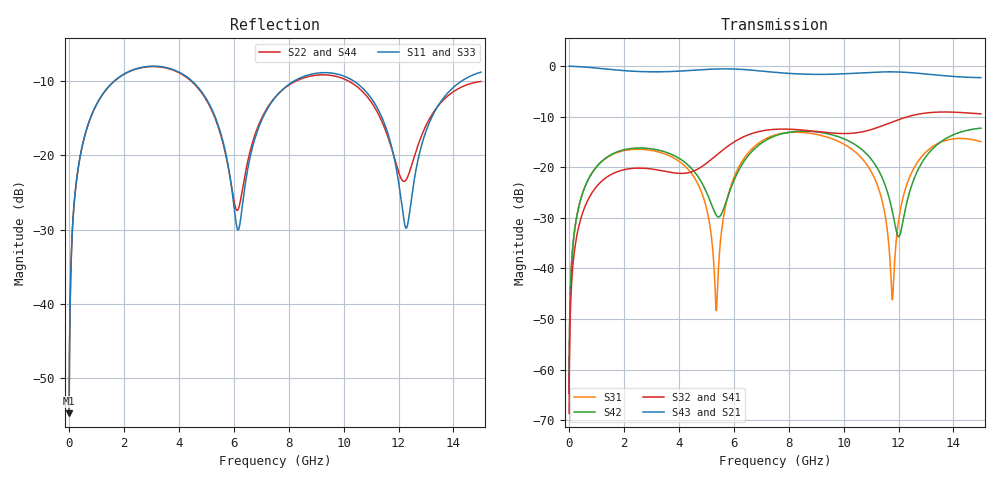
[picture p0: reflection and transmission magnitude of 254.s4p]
! Created with skrf 1.8.0 (http://scikit-rf.org).
# GHz S RI R 50.0
!freq ReS11 ImS11 ReS12 ImS12 ReS13 ImS13
! ReS14 ImS14
! ReS21 ImS21 ReS22 ImS22 ReS23 ImS23
! ReS24 ImS24
! ReS31 ImS31 ReS32 ImS32 ReS33 ImS33
! ReS34 ImS34
! ReS41 ImS41 ReS42 ImS42 ReS43 ImS43
! ReS44 ImS44
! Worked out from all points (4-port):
!   2499 points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, 5 MHz to 15 GHz, reference 50 ohm
!   strongest paths, dB at 5 MHz, 3.476 GHz, 7.19 GHz, 11.1 GHz, 15 GHz:
!     S43: 0.0, -1.1, -1.1, -1.2, -2.3
!     S21: 0.0, -1.1, -1.1, -1.2, -2.3
!     S32: -68.6, -20.8, -12.7, -12.4, -9.4
!     S41: -68.6, -20.9, -12.7, -12.5, -9.5
!     S42: -64.7, -16.9, -14.6, -19.1, -12.3
!     S31: -64.7, -17.3, -14.3, -21.8, -14.9
!   lowest |S11| = -54.7 dB at 5 MHz (marker M1), VSWR 1.00, Z = 50.1 + j0.112 ohm
!   |S11| at or under -10 dB: start of sweep to 1.661 GHz; 4.468 GHz to 8.214 GHz (3.747 GHz wide, 59.1 % of centre); 10.35 GHz to 14.31 GHz (3.961 GHz wide, 32.1 % of centre)
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0.005  0.00146 0.00111  0.9985 -0.00285  7.29e-05 0.000579  -7.09e-05 -0.000363
       0.9985 -0.00285  0.00146 0.00111  -7.09e-05 -0.000363  7.3e-05 0.000579
       7.29e-05 0.000579  -7.09e-05 -0.000363  0.00146 0.00111  0.9985 -0.00285
       -7.09e-05 -0.000363  7.3e-05 0.000579  0.9985 -0.00285  0.00146 0.00111
0.3126303  0.0199 0.0739  0.973 -0.1781  0.00871 0.0348  -0.00744 -0.0217
           0.973 -0.1781  0.0198 0.0739  -0.00745 -0.0217  0.00914 0.0348
           0.00871 0.0348  -0.00745 -0.0217  0.0199 0.0739  0.973 -0.1781
           -0.00744 -0.0217  0.00914 0.0348  0.973 -0.1781  0.0198 0.0739
1.519383  0.2308 0.1897  0.6322 -0.6763  0.1083 0.0738  -0.082 -0.0195
          0.6322 -0.6763  0.2289 0.1907  -0.0822 -0.0193  0.1143 0.0673
          0.1083 0.0738  -0.0822 -0.0193  0.2307 0.1898  0.6323 -0.6763
          -0.082 -0.0195  0.1143 0.0673  0.6323 -0.6763  0.229 0.1907
5.364735  0.0881 -0.1484  -0.8296 -0.4336  0.00357 0.00136  -0.0582 0.1178
          -0.8296 -0.4336  0.0965 -0.138  -0.0556 0.1191  -0.0283 -0.0181
          0.00357 0.00136  -0.0556 0.1191  0.088 -0.1478  -0.8297 -0.4337
          -0.0582 0.1178  -0.0283 -0.0181  -0.8297 -0.4337  0.096 -0.1376
9.616507  0.3486 -0.0677  0.0361 0.831  0.178 -0.0655  0.1976 -0.0818
          0.0361 0.831  0.338 -0.0512  0.1978 -0.0909  0.1762 -0.1106
          0.178 -0.0655  0.1978 -0.0909  0.3468 -0.0625  0.0354 0.8312
          0.1976 -0.0818  0.1762 -0.1106  0.0354 0.8312  0.3392 -0.0562
11.77366  0.0549 -0.0943  0.7952 0.3705  0.00489 0.000261  0.1164 -0.2551
          0.7952 0.3705  0.0819 -0.0692  0.1026 -0.2612  -0.0244 -0.0278
          0.00489 0.000261  0.1026 -0.2612  0.0609 -0.0913  0.7948 0.3718
          0.1164 -0.2551  -0.0244 -0.0278  0.7948 0.3718  0.0754 -0.0723
15  0.3554 0.0643  0.3041 -0.7042  0.1786 -0.0114  -0.3263 -0.0688
    0.3041 -0.7042  0.3094 0.0459  -0.3337 -0.0508  0.2095 -0.1242
    0.1786 -0.0114  -0.3337 -0.0508  0.3476 0.0636  0.3071 -0.7048
    -0.3263 -0.0688  0.2095 -0.1242  0.3071 -0.7048  0.3097 0.0434
